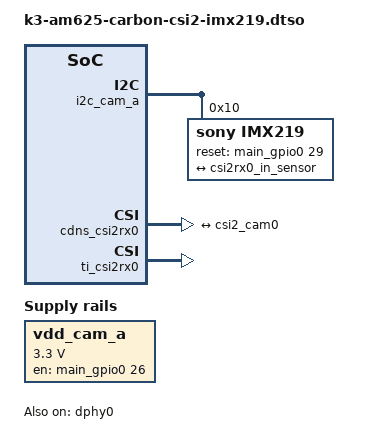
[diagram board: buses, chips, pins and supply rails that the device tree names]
// SPDX-License-Identifier: GPL-2.0
/*
 * IMX219 (RPi v2) Camera Module
 * Copyright (C) 2024 Ezurio LLC
 */

/dts-v1/;
/plugin/;

#include <dt-bindings/gpio/gpio.h>

&{/} {
	vdd_cam_a: regulator-cam-a-pwr {
		compatible = "regulator-fixed";
		regulator-name = "vdd_cam_a";
		regulator-min-microvolt = <3300000>;
		regulator-max-microvolt = <3300000>;
		gpios = <&main_gpio0 26 GPIO_ACTIVE_HIGH>; /* GPIO_C_6 / CAM_A_PWR */
		enable-active-high;
		regulator-always-on;
		regulator-boot-on;
	};

	/* On Camera module oscillator */
	clk_imx219_fixed: imx219-xclk {
		compatible = "fixed-clock";
		#clock-cells = <0>;
		clock-frequency = <24000000>;
	};
};

#if 0
&cam_mck { /* CPU CAM_MCK */
	status = "okay";
};
#endif

&i2c_cam_a {
	#address-cells = <1>;
	#size-cells = <0>;

	imx219: camera@10 {
		compatible = "sony,imx219";
		reg = <0x10>;

		//clocks = <&cam_mck>; /* From CPU */
		clocks = <&clk_imx219_fixed>; /* On Camera module */
		clock-names = "xclk";

		reset-gpios = <&main_gpio0 29 GPIO_ACTIVE_HIGH>; /* GPIO_C_7 / CAM_A_RST#  */

		port {
			csi2_cam0: endpoint {
				remote-endpoint = <&csi2rx0_in_sensor>;
				link-frequencies = /bits/ 64 <456000000>;
				clock-lanes = <0>;
				data-lanes = <1 2>;
			};
		};
	};
};

&cdns_csi2rx0 {
	ports {
		#address-cells = <1>;
		#size-cells = <0>;

		csi0_port0: port@0 {
			reg = <0>;
			status = "okay";

			csi2rx0_in_sensor: endpoint {
				remote-endpoint = <&csi2_cam0>;
				bus-type = <4>; /* CSI2 DPHY. */
				clock-lanes = <0>;
				data-lanes = <1 2>;
			};
		};
	};
};

&ti_csi2rx0 {
	status = "okay";
};

&dphy0 {
	status = "okay";
};
